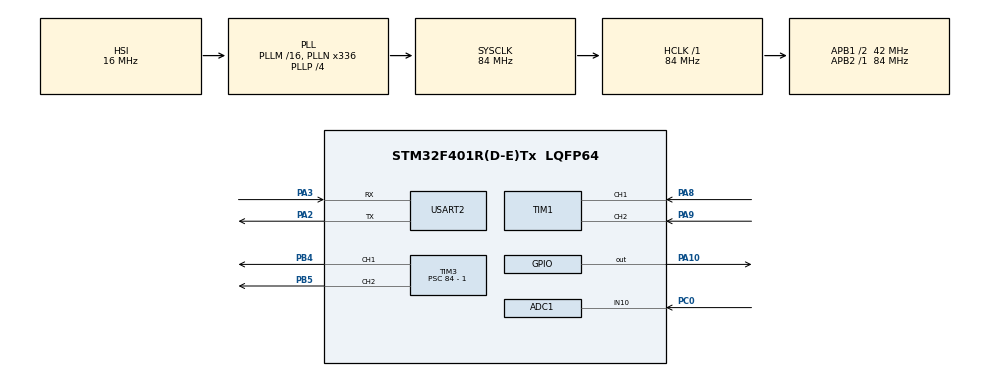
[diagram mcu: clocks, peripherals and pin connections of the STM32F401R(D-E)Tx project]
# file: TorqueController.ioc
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ADC1.Channel-0\#ChannelRegularConversion=ADC_CHANNEL_10
ADC1.NbrOfConversionFlag=1
ADC1.Rank-0\#ChannelRegularConversion=1
ADC1.SamplingTime-0\#ChannelRegularConversion=ADC_SAMPLETIME_3CYCLES
ADC1.master=1
Mcu.Family=STM32F4
Mcu.Name=STM32F401R(D-E)Tx
Mcu.Package=LQFP64
NVIC.PriorityGroup=NVIC_PRIORITYGROUP_4
NVIC.TIM4_IRQn=true\:0\:0\:false\:false\:true\:true\:true\:true
PA10.Signal=GPIO_Output
PA2.Mode=Asynchronous
PA2.Signal=USART2_TX
PA3.Mode=Asynchronous
PA3.Signal=USART2_RX
PA8.Signal=S_TIM1_CH1
PA9.Signal=S_TIM1_CH2
PB4.Signal=S_TIM3_CH1
PB5.Signal=S_TIM3_CH2
PC0.Signal=SharedAnalog_PC0
ProjectManager.HeapSize=0x200
ProjectManager.StackSize=0x400
ProjectManager.TargetToolchain=STM32CubeIDE
RCC.48MHZClocksFreq_Value=84000000
RCC.AHBFreq_Value=84000000
RCC.APB1CLKDivider=RCC_HCLK_DIV2
RCC.APB1Freq_Value=42000000
RCC.APB1TimFreq_Value=84000000
RCC.APB2Freq_Value=84000000
RCC.APB2TimFreq_Value=84000000
RCC.CortexFreq_Value=84000000
RCC.HCLKFreq_Value=84000000
RCC.HSE_VALUE=25000000
RCC.HSI_VALUE=16000000
RCC.LSE_VALUE=32768
RCC.PLLN=336
RCC.PLLP=RCC_PLLP_DIV4
RCC.SYSCLKFreq_VALUE=84000000
RCC.SYSCLKSource=RCC_SYSCLKSOURCE_PLLCLK
RCC.VCOOutputFreq_Value=336000000
SH.S_TIM1_CH1.0=TIM1_CH1,Encoder_Interface
SH.S_TIM1_CH2.0=TIM1_CH2,Encoder_Interface
SH.S_TIM3_CH1.0=TIM3_CH1,PWM Generation1 CH1
SH.S_TIM3_CH2.0=TIM3_CH2,PWM Generation2 CH2
SH.SharedAnalog_PC0.0=GPIO_Analog
SH.SharedAnalog_PC0.1=ADC1_IN10,IN10
TIM1.EncoderMode=TIM_ENCODERMODE_TI12
TIM3.AutoReloadPreload=TIM_AUTORELOAD_PRELOAD_ENABLE
TIM3.Channel-PWM\ Generation1\ CH1=TIM_CHANNEL_1
TIM3.Channel-PWM\ Generation2\ CH2=TIM_CHANNEL_2
TIM3.Period=500 - 1
TIM3.Prescaler=84 - 1
TIM4.Period=5000 - 1
TIM4.Prescaler=84 - 1
USART2.VirtualMode=VM_ASYNC
VP_TIM3_VS_ClockSourceINT.Mode=Internal
VP_TIM4_VS_ClockSourceINT.Mode=Internal
board=custom

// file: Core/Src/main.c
/* USER CODE BEGIN Header */
/**
  ******************************************************************************
  * @file           : main.c
  * @brief          : Main program body
  ******************************************************************************
  * @attention
  *
  * Copyright (c) 2024 STMicroelectronics.
  * All rights reserved.
  *
  * This software is licensed under terms that can be found in the LICENSE file
  * in the root directory of this software component.
  * If no LICENSE file comes with this software, it is provided AS-IS.
  *
  ******************************************************************************
  */
/* USER CODE END Header */
#include "main.h"
#include "stdio.h"
#include "stdlib.h"
#include "stdbool.h"
#include "math.h"
#include "string.h"
#include  <errno.h>
#include  <sys/unistd.h>

/* USER CODE BEGIN PD */
#define WAITING 5 // the number of seconds to wait from one reference change to the next. It also coincides with the number of seconds between one USART send and the next
/* USER CODE END PD */

ADC_HandleTypeDef hadc1;

TIM_HandleTypeDef htim1;
TIM_HandleTypeDef htim3;
TIM_HandleTypeDef htim4;

UART_HandleTypeDef huart2;

void SystemClock_Config(void);
static void MX_GPIO_Init(void);
static void MX_USART2_UART_Init(void);
static void MX_TIM3_Init(void);
static void MX_TIM1_Init(void);
static void MX_TIM4_Init(void);
static void MX_ADC1_Init(void);

/* USER CODE BEGIN 0 */
typedef struct circular_buffer {
	void *buffer;     // data buffer
	void *buffer_end; // end of data buffer
	size_t capacity;  // maximum number of items in the buffer
	size_t count;     // number of items in the buffer
	size_t sz;        // size of each item in the buffer
	void *head;       // pointer to head
	void *tail;       // pointer to tail
	bool writing;  // signals if the buffer is being written
} circular_buffer;

void cb_init(circular_buffer *cb, size_t capacity, size_t sz) {
	cb->buffer = calloc(capacity, sz);
	if (cb->buffer == NULL)
		printf("ALLOCATED NULL\n\r");
	// handle error
	cb->buffer_end = (char*) cb->buffer + capacity * sz;
	cb->capacity = capacity;
	cb->count = 0;
	cb->sz = sz;
	cb->head = cb->buffer;
	cb->tail = cb->buffer;
	cb->writing = false;

}

void cb_free(circular_buffer *cb) {
	free(cb->buffer);
	// clear out other fields too, just to be safe
}

void cb_push_back(circular_buffer *cb, const void *item) {
	if (cb->count == cb->capacity) {
		printf("ERROR PUSH BACK \n\r");
		// handle error
	}
	cb->writing = true;
	memmove(cb->head, item, cb->sz);
	cb->head = (char*) cb->head + cb->sz;
	if (cb->head == cb->buffer_end)
		cb->head = cb->buffer;
	cb->count++;
	cb->writing = false;
}

void cb_pop_front(circular_buffer *cb, void *item) {
	if (cb->count == 0) {
		printf("ERROR PUSH BACK \n\r");
		// handle error
	}
	memmove(item, cb->tail, cb->sz);
	cb->tail = (char*) cb->tail + cb->sz;
	if (cb->tail == cb->buffer_end)
		cb->tail = cb->buffer;
	while ((cb->writing))
		;
	cb->count--;
}

circular_buffer myBuff;

/* BEGIN RECORD TYPEDEF*/
typedef struct record {
	double current_u; // value of the current controller output
	double current_y; // value of the current motor output (speed)
	uint32_t cycleCoreDuration; // time needed to read, compute and actuate
	uint32_t cycleBeginDelay; // difference between the actual and the expected absolute start time of the cycle
	uint32_t currentTimestamp; // current timestamp in millis
	double current_tick;
	double reference;
	double last_tick;
} record;

/* BEGIN USART WRITE FUNCTION (used by printf)*/
int _write(int file, char *data, int len) {
	if ((file != STDOUT_FILENO) && (file != STDERR_FILENO)) {
		errno = EBADF;
		return -1;
	}

	// arbitrary timeout 1000
	HAL_StatusTypeDef status = HAL_UART_Transmit(&huart2, (uint8_t*) data, len,
			1000);

	// return # of bytes written - as best we can tell
	return (status == HAL_OK ? len : 0);
}

void setPulseFromDutyValue(double dutyVal) {
	HAL_GPIO_WritePin(GPIOA, GPIO_PIN_10, GPIO_PIN_SET); // enable the motor driver

	uint16_t channelToModulate;
	uint16_t channelToStop;

	if (dutyVal > 0) {
		channelToModulate = TIM_CHANNEL_1;
		channelToStop = TIM_CHANNEL_2;
	} else {
		channelToModulate = TIM_CHANNEL_2;
		channelToStop = TIM_CHANNEL_1;
	}

	__HAL_TIM_SET_COMPARE(&htim3, channelToStop, 0);
	__HAL_TIM_SET_COMPARE(&htim3, channelToModulate,
			(abs(dutyVal) * ((double )htim3.Init.Period)) / 100); //cast integer value to double to correctly perform division between decimal numbers
}

double getSpeedByDelta(double ticksDelta) {
	return ticksDelta * 60 / (8400 * 0.005);
}

double getTicksDelta(double ticks, double last) {
	double delta;

	if (abs(ticks - last) <= ceil(12600 * 0.005))
		delta = ticks - last;
	else {
		if (last > ticks)
			delta = ticks + pow(2, 16) - 1 - last;
		else
			delta = ticks - pow(2, 16) + 1 - last;
	}
	return delta;
}

int cycleduration;
double lastTicks = 0;
double currentTicks = 0;
uint32_t ticControlStep;
uint32_t tocControlStep;
uint32_t controlComputationDuration;
double u_last_integrated = 0;
double u_last = 0;
double e_last = 0;
double Ts = 0.005;
double referenceVals[8] = { 7,7,7,7,7,7,7};
double referenceVal;
uint32_t k_controller = -1;
int samplingPrescaler = 2;
int samplingPrescalerCounter = 0;

double ticksStar = 0;

typedef struct controller_gains{
	double K1;
	double K2;
	double K3;
	double KI;
	double Kr;
} controller_gains;

controller_gains controller_gain = {
	.K1 = 2.8533651377751847,
	.K2 = 25.840304667836726,
	.K3 = 0.70305257229905194,
	.KI = 0.00883883476483182,
	.Kr = 4.6009096074749376
};

typedef struct observer_A_s{
	double A11;
	double A12;
	double A13;
	double A21;
	double A22;
	double A23;
	double A31;
	double A32;
	double A33;
} observer_A_t;

observer_A_t observer_A = {
	.A11 = 0.9323301716064688,
	.A12 = -11.678660637721487,
	.A13 = 0.039014496138124237,
	.A21 = 0.0027413091396064947,
	.A22 = 0.1183557159613379,
	.A23 = 5.5348095481874759E-5,
	.A31 = -0.0068954979109303533,
	.A32 = -2.8131155992845822,
	.A33 = 0.8383381318909956
};

typedef struct observer_B_s{
	double B11;
	double B12;
	double B21;
	double B22;
	double B31;
	double B32;
} observer_B_t;

observer_B_t observer_B = {
	.B11 = -0.0040505355062536866,
	.B12 = 2.0794225090756346,
	.B21 = -5.7463109393787418E-6,
	.B22 = 0.15697955665449895,
	.B31 = 0.036784001382597235,
	.B32 = 0.50088414067706177
};

typedef struct observer_C_s{
	double C11;
	double C12;
	double C13;
	double C21;
	double C22;
	double C23;
	double C31;
	double C32;
	double C33;
} observer_C_t;

observer_C_t observer_C = {
	.C11 = 0.96616508580323435,
	.C12 = -5.8393303188607444,
	.C13 = 0.019507248069062118,
	.C21 = 0.0013706545698032474,
	.C22 = 0.559177857980669,
	.C23 = 2.767404774093738E-5,
	.C31 = -0.0034477489554651771,
	.C32 = -1.4065577996422911,
	.C33 = 0.91916906594549774
};

typedef struct observer_D_s{
	double D11;
	double D12;
	double D21;
	double D22;
	double D31;
	double D32;
} observer_D_t;

observer_D_t observer_D = {
	.D11 = -0.0020252677531268433,
	.D12 = 1.0397112545378173,
	.D21 = -2.8731554696893709E-6,
	.D22 = 0.078489778327249474,
	.D31 = 0.018392000691298618,
	.D32 = 0.25044207033853089
};
typedef struct x_hat_s {
	double x1;
	double x2;
	double x3;
} x_hat_t;

x_hat_t observer_state = {0, 0, 0};

double sign(double x) {
	if (x >= 0)
		return 1;
	else
		return -1;
}

double getPositionByDelta(double ticksDelta) {
	//
	ticksStar = ticksStar + (double)ticksDelta;
	double completeTheta = 2*3.14159265359*(ticksStar/8400);
	double position=sign(completeTheta)*fmod(completeTheta,2*3.14159265359);
	return position;
}

/* USER CODE END 0 */

int main(void)
{

  /* MCU Configuration--------------------------------------------------------*/

  /* Reset of all peripherals, Initializes the Flash interface and the Systick. */
  HAL_Init();

  /* USER CODE BEGIN Init */

  size_t bufferSize = (size_t)ceil(2 * WAITING / (Ts * samplingPrescaler));
  cb_init(&myBuff, bufferSize, sizeof(record));
  /* USER CODE END Init */

  /* Configure the system clock */
  SystemClock_Config();

  /* Initialize all configured peripherals */
  MX_GPIO_Init();
  MX_USART2_UART_Init();
  MX_TIM3_Init();
  MX_TIM1_Init();
  MX_TIM4_Init();
  MX_ADC1_Init();

  /* USER CODE BEGIN 2 */
  HAL_TIM_PWM_Start(&htim3, TIM_CHANNEL_1);
  HAL_TIM_PWM_Start(&htim3, TIM_CHANNEL_2);

	int referenceIndex = 0;

	referenceVal = referenceVals[referenceIndex];
	printf("INIT\n\r"); // initialize the Matlab tool for COM data acquiring
	HAL_Delay(1000);
	printf("INIT\n\r"); // initialize the Matlab tool for COM data acquiring
	HAL_TIM_Base_Start(&htim1);
	HAL_TIM_Base_Start_IT(&htim4);
  /* USER CODE END 2 */

  /* Infinite loop */
  /* USER CODE BEGIN WHILE */
	while (1) {
			size_t nEntriesToSend = myBuff.count; //number of samples not read yet
			record retrieved; //buffer entry

			for (size_t count = 0; count < nEntriesToSend; count++) {
				cb_pop_front(&myBuff, &retrieved); //take entry from the buffer
				printf("%lu, %f, %f, %lu, %f, %f, %f\n\r", retrieved.currentTimestamp,
						retrieved.current_u, retrieved.current_y,
						retrieved.cycleCoreDuration, retrieved.current_tick, retrieved.last_tick,retrieved.reference); // send values via USART using format: value1, value2, value3, ... valuen \n \r
			}
			referenceVal = referenceVals[referenceIndex];
			referenceIndex = referenceIndex + 1;
			HAL_Delay(WAITING*1000); // takes a time value in ms
			if (referenceIndex > 7)
				referenceIndex = 0;

			/* USER CODE END WHILE */

		}
}

void SystemClock_Config(void)
{
  RCC_OscInitTypeDef RCC_OscInitStruct = {0};
  RCC_ClkInitTypeDef RCC_ClkInitStruct = {0};

  /** Configure the main internal regulator output voltage
  */
  __HAL_RCC_PWR_CLK_ENABLE();
  __HAL_PWR_VOLTAGESCALING_CONFIG(PWR_REGULATOR_VOLTAGE_SCALE2);

  /** Initializes the RCC Oscillators according to the specified parameters
  * in the RCC_OscInitTypeDef structure.
  */
  RCC_OscInitStruct.OscillatorType = RCC_OSCILLATORTYPE_HSI;
  RCC_OscInitStruct.HSIState = RCC_HSI_ON;
  RCC_OscInitStruct.HSICalibrationValue = RCC_HSICALIBRATION_DEFAULT;
  RCC_OscInitStruct.PLL.PLLState = RCC_PLL_ON;
  RCC_OscInitStruct.PLL.PLLSource = RCC_PLLSOURCE_HSI;
  RCC_OscInitStruct.PLL.PLLM = 16;
  RCC_OscInitStruct.PLL.PLLN = 336;
  RCC_OscInitStruct.PLL.PLLP = RCC_PLLP_DIV4;
  RCC_OscInitStruct.PLL.PLLQ = 4;
  if (HAL_RCC_OscConfig(&RCC_OscInitStruct) != HAL_OK)
  {
    Error_Handler();
  }

  /** Initializes the CPU, AHB and APB buses clocks
  */
  RCC_ClkInitStruct.ClockType = RCC_CLOCKTYPE_HCLK|RCC_CLOCKTYPE_SYSCLK
                              |RCC_CLOCKTYPE_PCLK1|RCC_CLOCKTYPE_PCLK2;
  RCC_ClkInitStruct.SYSCLKSource = RCC_SYSCLKSOURCE_PLLCLK;
  RCC_ClkInitStruct.AHBCLKDivider = RCC_SYSCLK_DIV1;
  RCC_ClkInitStruct.APB1CLKDivider = RCC_HCLK_DIV2;
  RCC_ClkInitStruct.APB2CLKDivider = RCC_HCLK_DIV1;

  if (HAL_RCC_ClockConfig(&RCC_ClkInitStruct, FLASH_LATENCY_2) != HAL_OK)
  {
    Error_Handler();
  }
}

static void MX_ADC1_Init(void)
{

  ADC_ChannelConfTypeDef sConfig = {0};

  /** Configure the global features of the ADC (Clock, Resolution, Data Alignment and number of conversion)
  */
  hadc1.Instance = ADC1;
  hadc1.Init.ClockPrescaler = ADC_CLOCK_SYNC_PCLK_DIV4;
  hadc1.Init.Resolution = ADC_RESOLUTION_12B;
  hadc1.Init.ScanConvMode = DISABLE;
  hadc1.Init.ContinuousConvMode = DISABLE;
  hadc1.Init.DiscontinuousConvMode = DISABLE;
  hadc1.Init.ExternalTrigConvEdge = ADC_EXTERNALTRIGCONVEDGE_NONE;
  hadc1.Init.ExternalTrigConv = ADC_SOFTWARE_START;
  hadc1.Init.DataAlign = ADC_DATAALIGN_RIGHT;
  hadc1.Init.NbrOfConversion = 1;
  hadc1.Init.DMAContinuousRequests = DISABLE;
  hadc1.Init.EOCSelection = ADC_EOC_SINGLE_CONV;
  if (HAL_ADC_Init(&hadc1) != HAL_OK)
  {
    Error_Handler();
  }

  /** Configure for the selected ADC regular channel its corresponding rank in the sequencer and its sample time.
  */
  sConfig.Channel = ADC_CHANNEL_10;
  sConfig.Rank = 1;
  sConfig.SamplingTime = ADC_SAMPLETIME_3CYCLES;
  if (HAL_ADC_ConfigChannel(&hadc1, &sConfig) != HAL_OK)
  {
    Error_Handler();
  }

}

static void MX_TIM1_Init(void)
{

  TIM_Encoder_InitTypeDef sConfig = {0};
  TIM_MasterConfigTypeDef sMasterConfig = {0};

  htim1.Instance = TIM1;
  htim1.Init.Prescaler = 0;
  htim1.Init.CounterMode = TIM_COUNTERMODE_UP;
  htim1.Init.Period = 65535;
  htim1.Init.ClockDivision = TIM_CLOCKDIVISION_DIV1;
  htim1.Init.RepetitionCounter = 0;
  htim1.Init.AutoReloadPreload = TIM_AUTORELOAD_PRELOAD_DISABLE;
  sConfig.EncoderMode = TIM_ENCODERMODE_TI12;
  sConfig.IC1Polarity = TIM_ICPOLARITY_RISING;
  sConfig.IC1Selection = TIM_ICSELECTION_DIRECTTI;
  sConfig.IC1Prescaler = TIM_ICPSC_DIV1;
  sConfig.IC1Filter = 0;
  sConfig.IC2Polarity = TIM_ICPOLARITY_RISING;
  sConfig.IC2Selection = TIM_ICSELECTION_DIRECTTI;
  sConfig.IC2Prescaler = TIM_ICPSC_DIV1;
  sConfig.IC2Filter = 0;
  if (HAL_TIM_Encoder_Init(&htim1, &sConfig) != HAL_OK)
  {
    Error_Handler();
  }
  sMasterConfig.MasterOutputTrigger = TIM_TRGO_RESET;
  sMasterConfig.MasterSlaveMode = TIM_MASTERSLAVEMODE_DISABLE;
  if (HAL_TIMEx_MasterConfigSynchronization(&htim1, &sMasterConfig) != HAL_OK)
  {
    Error_Handler();
  }

}

static void MX_TIM3_Init(void)
{

  TIM_ClockConfigTypeDef sClockSourceConfig = {0};
  TIM_MasterConfigTypeDef sMasterConfig = {0};
  TIM_OC_InitTypeDef sConfigOC = {0};

  htim3.Instance = TIM3;
  htim3.Init.Prescaler = 84 - 1;
  htim3.Init.CounterMode = TIM_COUNTERMODE_UP;
  htim3.Init.Period = 500 - 1;
  htim3.Init.ClockDivision = TIM_CLOCKDIVISION_DIV1;
  htim3.Init.AutoReloadPreload = TIM_AUTORELOAD_PRELOAD_ENABLE;
  if (HAL_TIM_Base_Init(&htim3) != HAL_OK)
  {
    Error_Handler();
  }
  sClockSourceConfig.ClockSource = TIM_CLOCKSOURCE_INTERNAL;
  if (HAL_TIM_ConfigClockSource(&htim3, &sClockSourceConfig) != HAL_OK)
  {
    Error_Handler();
  }
  if (HAL_TIM_PWM_Init(&htim3) != HAL_OK)
  {
    Error_Handler();
  }
  sMasterConfig.MasterOutputTrigger = TIM_TRGO_RESET;
  sMasterConfig.MasterSlaveMode = TIM_MASTERSLAVEMODE_DISABLE;
  if (HAL_TIMEx_MasterConfigSynchronization(&htim3, &sMasterConfig) != HAL_OK)
  {
    Error_Handler();
  }
  sConfigOC.OCMode = TIM_OCMODE_PWM1;
  sConfigOC.Pulse = 0;
  sConfigOC.OCPolarity = TIM_OCPOLARITY_HIGH;
  sConfigOC.OCFastMode = TIM_OCFAST_DISABLE;
  if (HAL_TIM_PWM_ConfigChannel(&htim3, &sConfigOC, TIM_CHANNEL_1) != HAL_OK)
  {
    Error_Handler();
  }
  if (HAL_TIM_PWM_ConfigChannel(&htim3, &sConfigOC, TIM_CHANNEL_2) != HAL_OK)
  {
    Error_Handler();
  }
  HAL_TIM_MspPostInit(&htim3);

}

static void MX_TIM4_Init(void)
{

  TIM_ClockConfigTypeDef sClockSourceConfig = {0};
  TIM_MasterConfigTypeDef sMasterConfig = {0};

  htim4.Instance = TIM4;
  htim4.Init.Prescaler = 84 - 1;
  htim4.Init.CounterMode = TIM_COUNTERMODE_UP;
  htim4.Init.Period = 5000 - 1;
  htim4.Init.ClockDivision = TIM_CLOCKDIVISION_DIV1;
  htim4.Init.AutoReloadPreload = TIM_AUTORELOAD_PRELOAD_DISABLE;
  if (HAL_TIM_Base_Init(&htim4) != HAL_OK)
  {
    Error_Handler();
  }
  sClockSourceConfig.ClockSource = TIM_CLOCKSOURCE_INTERNAL;
  if (HAL_TIM_ConfigClockSource(&htim4, &sClockSourceConfig) != HAL_OK)
  {
    Error_Handler();
  }
  sMasterConfig.MasterOutputTrigger = TIM_TRGO_RESET;
  sMasterConfig.MasterSlaveMode = TIM_MASTERSLAVEMODE_DISABLE;
  if (HAL_TIMEx_MasterConfigSynchronization(&htim4, &sMasterConfig) != HAL_OK)
  {
    Error_Handler();
  }

}

static void MX_USART2_UART_Init(void)
{

  huart2.Instance = USART2;
  huart2.Init.BaudRate = 115200;
  huart2.Init.WordLength = UART_WORDLENGTH_8B;
  huart2.Init.StopBits = UART_STOPBITS_1;
  huart2.Init.Parity = UART_PARITY_NONE;
  huart2.Init.Mode = UART_MODE_TX_RX;
  huart2.Init.HwFlowCtl = UART_HWCONTROL_NONE;
  huart2.Init.OverSampling = UART_OVERSAMPLING_16;
  if (HAL_UART_Init(&huart2) != HAL_OK)
  {
    Error_Handler();
  }

}

static void MX_GPIO_Init(void)
{
  GPIO_InitTypeDef GPIO_InitStruct = {0};

  /* GPIO Ports Clock Enable */
  __HAL_RCC_GPIOC_CLK_ENABLE();
  __HAL_RCC_GPIOA_CLK_ENABLE();
  __HAL_RCC_GPIOB_CLK_ENABLE();

  /*Configure GPIO pin Output Level */
  HAL_GPIO_WritePin(GPIOA, GPIO_PIN_10, GPIO_PIN_RESET);

  /*Configure GPIO pin : PA10 */
  GPIO_InitStruct.Pin = GPIO_PIN_10;
  GPIO_InitStruct.Mode = GPIO_MODE_OUTPUT_PP;
  GPIO_InitStruct.Pull = GPIO_NOPULL;
  GPIO_InitStruct.Speed = GPIO_SPEED_FREQ_LOW;
  HAL_GPIO_Init(GPIOA, &GPIO_InitStruct);

}

/* USER CODE BEGIN 4 */
x_hat_t get_x_hat(double u_last, double y_now) {
	double x1 = observer_state.x1;
	double x2 = observer_state.x2;
	double x3 = observer_state.x3;

	double u = u_last;
	double y = y_now;

	x_hat_t state_estimated = {0,0,0};

	state_estimated.x1 = observer_C.C11 * x1 + observer_C.C12 * x2 + observer_C.C13 * x3 + observer_D.D11 * u + observer_D.D12 * y;
	state_estimated.x2 = observer_C.C21 * x1 + observer_C.C22 * x2 + observer_C.C23 * x3 + observer_D.D21 * u + observer_D.D22 * y;
	state_estimated.x3 = observer_C.C31 * x1 + observer_C.C32 * x2 + observer_C.C33 * x3 + observer_D.D31 * u + observer_D.D32 * y;

	double x1_new = observer_A.A11 * x1 + observer_A.A12 * x2 + observer_A.A13 * x3 + observer_B.B11 * u + observer_B.B12 * y;
	double x2_new = observer_A.A21 * x1 + observer_A.A22 * x2 + observer_A.A23 * x3 + observer_B.B21 * u + observer_B.B22 * y;
	double x3_new = observer_A.A31 * x1 + observer_A.A32 * x2 + observer_A.A33 * x3 + observer_B.B31 * u + observer_B.B32 * y;

	observer_state.x1 = x1_new;
	observer_state.x2 = x2_new;
	observer_state.x3 = x3_new;

	return state_estimated;
}

void HAL_TIM_PeriodElapsedCallback(TIM_HandleTypeDef *htim) {
	if (htim == &htim4) {
		k_controller = k_controller + 1;
		if (k_controller == 0) {
			ticControlStep = HAL_GetTick();
		}
		tocControlStep = HAL_GetTick();

		currentTicks = (double) __HAL_TIM_GET_COUNTER(&htim1); //take current value of ticks counting the encoder edges
		// double speed = getSpeedByDelta(
		// 		getTicksDelta(currentTicks, lastTicks));

		double position = getPositionByDelta(
				getTicksDelta(currentTicks, lastTicks));

		// double e = referenceVal - speed;
		double e = referenceVal - position;
		HAL_ADC_Start(&hadc1);

		HAL_ADC_PollForConversion(&hadc1, HAL_MAX_DELAY);
		uint32_t adc_value = HAL_ADC_GetValue(&hadc1);
		double adc_voltage = (double)adc_value * 3.3 / 4095; // Conversione in tensione (valore massimo dell'ADC = 4096, tensione di riferimento = 3.3V)
		double current = (adc_voltage-2.5530)/0.185;
		x_hat_t state_estimated = get_x_hat(u_last, position);

		double u = -controller_gain.K1 * state_estimated.x1 - controller_gain.K2 * state_estimated.x2 - controller_gain.K3 * state_estimated.x3 + controller_gain.Kr * referenceVal;
		double u_integrator = u_last_integrated + controller_gain.KI *(e + e_last);
		u += u_integrator;
		setPulseFromDutyValue(u * 100 / 12);

		u_last_integrated = u_integrator;
		u_last = u;
		e_last = e;

		controlComputationDuration = HAL_GetTick() - tocControlStep;
		double temp = lastTicks;
		lastTicks = currentTicks;
		// recording data in the buffer
		record r;
		r.current_u = current;
		r.current_y = position;
		r.last_tick = temp;
		r.reference = referenceVal;
		r.current_tick = currentTicks;
		r.cycleCoreDuration = controlComputationDuration;
		r.cycleBeginDelay = tocControlStep - ticControlStep
				- (k_controller * Ts * 1000);
		r.currentTimestamp = HAL_GetTick();
		if (samplingPrescalerCounter == (samplingPrescaler - 1)) {
			cb_push_back(&myBuff, &r);
			samplingPrescalerCounter = -1;
		}
		samplingPrescalerCounter++;
	}
}
/* USER CODE END 4 */

void Error_Handler(void)
{
  __disable_irq();
  while (1)
  {
  }
}
